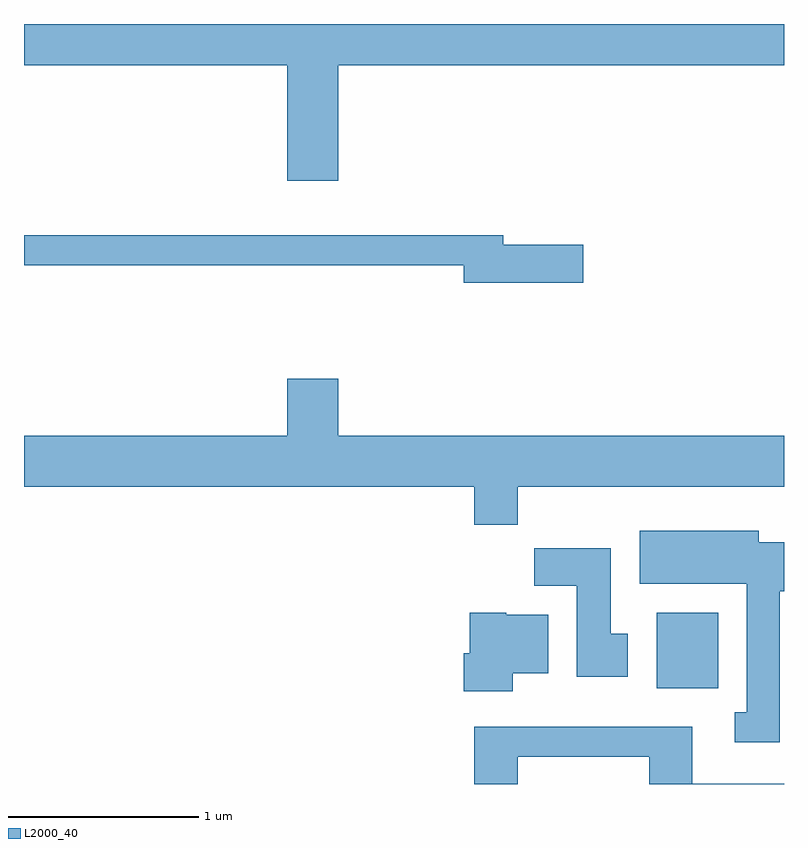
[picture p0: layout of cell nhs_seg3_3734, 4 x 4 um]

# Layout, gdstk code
import gdstk
lib = gdstk.Library(unit=1e-6, precision=1e-09)
def R(c, l, rs):  # rectangles x0, y0, x1, y1
    for r in rs: c.add(gdstk.rectangle(r[:2], r[2:], *l))
def P(c, l, *ps):  # polygons
    for p in ps: c.add(gdstk.Polygon(p, *l))
L2000_40 = (2000, 40)

nhs_seg3_3734 = lib.new_cell('nhs_seg3_3734')
R(nhs_seg3_3734, L2000_40, [(296.941,1240.396,297.264,1240.794)])
P(nhs_seg3_3734, L2000_40, [(295.264,1243.676),(297.611,1243.676),(297.611,1243.892),(293.611,1243.892),(293.611,1243.676),(294.996,1243.676),(294.996,1243.066),(295.264,1243.066)],
  [(296.554,1242.729),(296.134,1242.729),(296.134,1242.779),(293.611,1242.779),(293.611,1242.621),(295.926,1242.621),(295.926,1242.531),(296.554,1242.531)],
  [(296.209,1241.456),(297.611,1241.456),(297.611,1241.724),(295.264,1241.724),(295.264,1242.024),(294.996,1242.024),(294.996,1241.724),(293.611,1241.724),(293.611,1241.456),(295.981,1241.456),(295.981,1241.256),(296.209,1241.256)],
  [(297.589,1240.906),(297.611,1240.906),(297.611,1241.164),(297.479,1241.164),(297.479,1241.224),(296.851,1241.224),(296.851,1240.946),(297.416,1240.946),(297.416,1240.269),(297.353,1240.269),(297.353,1240.111),(297.589,1240.111)],
  [(296.789,1240.684),(296.699,1240.684),(296.699,1241.134),(296.296,1241.134),(296.296,1240.936),(296.521,1240.936),(296.521,1240.456),(296.789,1240.456)],
  [(296.184,1240.476),(296.369,1240.476),(296.369,1240.784),(296.15,1240.784),(296.15,1240.794),(295.956,1240.794),(295.956,1240.579),(295.926,1240.579),(295.926,1240.381),(296.184,1240.381)],
  [(296.209,1240.036),(296.901,1240.036),(296.901,1239.892),(297.611,1239.892),(297.611,1239.894),(297.129,1239.894),(297.129,1240.194),(295.981,1240.194),(295.981,1239.892),(296.209,1239.892)])

lib.write_gds('nhs_seg3_3734.gds')
